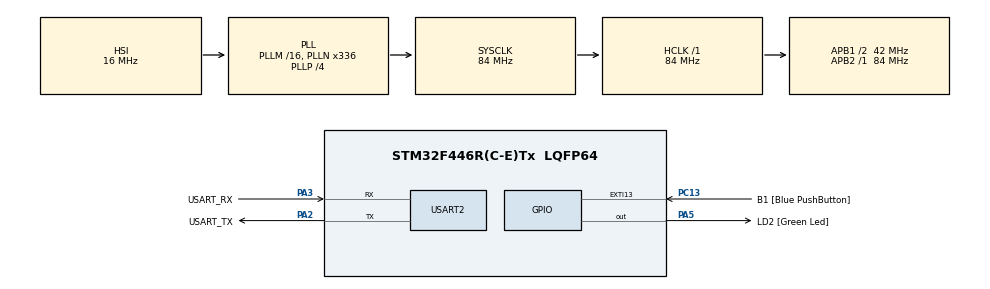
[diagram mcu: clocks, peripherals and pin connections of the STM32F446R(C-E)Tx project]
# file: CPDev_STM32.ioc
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Dma.Request0=USART2_RX
Dma.USART2_RX.0.Direction=DMA_PERIPH_TO_MEMORY
Dma.USART2_RX.0.FIFOMode=DMA_FIFOMODE_DISABLE
Dma.USART2_RX.0.Instance=DMA1_Stream5
Dma.USART2_RX.0.MemDataAlignment=DMA_MDATAALIGN_BYTE
Dma.USART2_RX.0.MemInc=DMA_MINC_ENABLE
Dma.USART2_RX.0.Mode=DMA_NORMAL
Dma.USART2_RX.0.PeriphDataAlignment=DMA_PDATAALIGN_BYTE
Dma.USART2_RX.0.PeriphInc=DMA_PINC_DISABLE
Dma.USART2_RX.0.Priority=DMA_PRIORITY_LOW
Mcu.Family=STM32F4
Mcu.Name=STM32F446R(C-E)Tx
Mcu.Package=LQFP64
NVIC.DMA1_Stream5_IRQn=true\:0\:0\:false\:false\:true\:false\:true\:true
NVIC.PriorityGroup=NVIC_PRIORITYGROUP_0
NVIC.USART2_IRQn=true\:0\:0\:false\:false\:true\:true\:true\:true
PA13.GPIO_Label=TMS
PA13.Mode=Serial_Wire
PA13.Signal=SYS_JTMS-SWDIO
PA14.GPIO_Label=TCK
PA14.Mode=Serial_Wire
PA14.Signal=SYS_JTCK-SWCLK
PA2.GPIO_Label=USART_TX
PA2.Mode=Asynchronous
PA2.Signal=USART2_TX
PA3.GPIO_Label=USART_RX
PA3.Mode=Asynchronous
PA3.Signal=USART2_RX
PA5.GPIO_Label=LD2 [Green Led]
PA5.Signal=GPIO_Output
PB3.GPIO_Label=SWO
PB3.Signal=SYS_JTDO-SWO
PC13.GPIO_Label=B1 [Blue PushButton]
PC13.GPIO_ModeDefaultEXTI=GPIO_MODE_IT_FALLING
PC13.Signal=GPXTI13
PC14-OSC32_IN.Mode=LSE-External-Oscillator
PC14-OSC32_IN.Signal=RCC_OSC32_IN
PC15-OSC32_OUT.Mode=LSE-External-Oscillator
PC15-OSC32_OUT.Signal=RCC_OSC32_OUT
PH0-OSC_IN.Mode=HSE-External-Oscillator
PH0-OSC_IN.Signal=RCC_OSC_IN
PH1-OSC_OUT.Mode=HSE-External-Oscillator
PH1-OSC_OUT.Signal=RCC_OSC_OUT
ProjectManager.HeapSize=0x200
ProjectManager.StackSize=0x400
ProjectManager.TargetToolchain=STM32CubeIDE
RCC.48MHZClocksFreq_Value=84000000
RCC.AHBFreq_Value=84000000
RCC.APB1CLKDivider=RCC_HCLK_DIV2
RCC.APB1Freq_Value=42000000
RCC.APB1TimFreq_Value=84000000
RCC.APB2Freq_Value=84000000
RCC.APB2TimFreq_Value=84000000
RCC.CortexFreq_Value=84000000
RCC.FLatency-AdvancedSettings=FLASH_LATENCY_2
RCC.HCLKFreq_Value=84000000
RCC.HSE_VALUE=8000000
RCC.HSI_VALUE=16000000
RCC.PLLN=336
RCC.PLLP=RCC_PLLP_DIV4
RCC.SYSCLKFreq_VALUE=84000000
RCC.SYSCLKSource=RCC_SYSCLKSOURCE_PLLCLK
RCC.USBFreq_Value=168000000
RCC.VCOOutputFreq_Value=336000000
USART2.VirtualMode=VM_ASYNC
board=NUCLEO-F446RE

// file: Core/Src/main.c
/* USER CODE BEGIN Header */
/**
 ******************************************************************************
 * @file           : main.c
 * @brief          : Main program body
 ******************************************************************************
 * @attention
 *
 * Copyright (c) 2022 STMicroelectronics.
 * All rights reserved.
 *
 * This software is licensed under terms that can be found in the LICENSE file
 * in the root directory of this software component.
 * If no LICENSE file comes with this software, it is provided AS-IS.
 *
 ******************************************************************************
 */
/* USER CODE END Header */
#include "main.h"

/* USER CODE BEGIN Includes */
#include "string.h"
#include "../lib/CPDevVM/src/vmc.h"
/* USER CODE END Includes */

/* USER CODE BEGIN PD */
#define RECV_BUFF_SIZE	60
/* USER CODE END PD */

UART_HandleTypeDef huart2;
DMA_HandleTypeDef hdma_usart2_rx;

/* USER CODE BEGIN PV */
uint8_t recvBuffDMA[RECV_BUFF_SIZE];
uint8_t recvBuffCopy[RECV_BUFF_SIZE];
uint16_t recvBuffSize;
uint32_t recvBuffTime;

WM_BOOL out1;

const unsigned char blinkInFlash[] =
{ 0x1C, 0x15, 0x00, 0x00, 0x00, 0x00, 0x01, 0x00, 0x1C, 0x16, 0x00, 0x00, 0x00,
		0x00, 0x22, 0x00, 0x00, 0x00, 0x1C, 0x16, 0x00, 0x00, 0x00, 0x00, 0x24,
		0x00, 0x00, 0x00, 0x1C, 0x1D, 0x12, 0x00, 0x00, 0x00, 0x1C, 0x13, 0x05,
		0x10, 0x00, 0x00, 0x00, 0x00, 0x00, 0x00, 0x00, 0x00, 0x1C, 0x13 };

/* USER CODE END PV */

void SystemClock_Config(void);
static void MX_GPIO_Init(void);
static void MX_DMA_Init(void);
static void MX_USART2_UART_Init(void);
/* USER CODE BEGIN PFP */
void HAL_UARTEx_RxEventCallback(UART_HandleTypeDef *huart, uint16_t Size)
{
	// Check if UART2 trigger the Callback
	if (huart->Instance == USART2)
	{
		//virtual machine stop before code change
		WM_Stop();

		//copy buffer
		recvBuffSize = Size;
		memcpy(recvBuffCopy, recvBuffDMA, recvBuffSize);
		memset(recvBuffCopy + recvBuffSize, 0, RECV_BUFF_SIZE - recvBuffSize);
		recvBuffTime = HAL_GetTick();

		//start to listening again
		HAL_UARTEx_ReceiveToIdle_DMA(&huart2, recvBuffDMA, RECV_BUFF_SIZE);
	}
}
/* USER CODE END 4 */
/* USER CODE END PFP */

int main(void)
{

	/* MCU Configuration--------------------------------------------------------*/

	/* Reset of all peripherals, Initializes the Flash interface and the Systick. */
	HAL_Init();

	/* Configure the system clock */
	SystemClock_Config();

	/* Initialize all configured peripherals */
	MX_GPIO_Init();
	MX_DMA_Init();
	MX_USART2_UART_Init();
	/* USER CODE BEGIN 2 */

	//set time cycle
	task_cycle = 100;

	//start to listening
	HAL_UARTEx_ReceiveToIdle_DMA(&huart2, recvBuffDMA, RECV_BUFF_SIZE);

	//load program from FLASH
	//VMP_LoadProgramAndData(blinkInFlash, 60);
	//init virutal machine
	//WM_Initialize(WM_MODE_FIRST_START | WM_MODE_NORMAL);

	/* USER CODE END 2 */

	/* Infinite loop */
	/* USER CODE BEGIN WHILE */
	while (1)
	{
		//initialize the machine after 1 sec from receiving the last packet of data
		if (recvBuffTime && (HAL_GetTick() - recvBuffTime) > 1000)
		{
			VMP_LoadProgramAndData(recvBuffCopy, recvBuffSize);
			WM_Initialize(WM_MODE_FIRST_START | WM_MODE_NORMAL);
			recvBuffTime = 0;
		}

		//if the machine is running, run a virtual machine cycle
		if (bRunMode)
		{
			WM_GetData(0, 1, &out1);
			HAL_GPIO_WritePin(LD2_GPIO_Port, LD2_Pin, out1);

			WM_RunCycle();
		}

		/* USER CODE END WHILE */

	}
}

void SystemClock_Config(void)
{
	RCC_OscInitTypeDef RCC_OscInitStruct =
	{ 0 };
	RCC_ClkInitTypeDef RCC_ClkInitStruct =
	{ 0 };

	/** Configure the main internal regulator output voltage
	 */
	__HAL_RCC_PWR_CLK_ENABLE();
	__HAL_PWR_VOLTAGESCALING_CONFIG(PWR_REGULATOR_VOLTAGE_SCALE3);

	/** Initializes the RCC Oscillators according to the specified parameters
	 * in the RCC_OscInitTypeDef structure.
	 */
	RCC_OscInitStruct.OscillatorType = RCC_OSCILLATORTYPE_HSI;
	RCC_OscInitStruct.HSIState = RCC_HSI_ON;
	RCC_OscInitStruct.HSICalibrationValue = RCC_HSICALIBRATION_DEFAULT;
	RCC_OscInitStruct.PLL.PLLState = RCC_PLL_ON;
	RCC_OscInitStruct.PLL.PLLSource = RCC_PLLSOURCE_HSI;
	RCC_OscInitStruct.PLL.PLLM = 16;
	RCC_OscInitStruct.PLL.PLLN = 336;
	RCC_OscInitStruct.PLL.PLLP = RCC_PLLP_DIV4;
	RCC_OscInitStruct.PLL.PLLQ = 2;
	RCC_OscInitStruct.PLL.PLLR = 2;
	if (HAL_RCC_OscConfig(&RCC_OscInitStruct) != HAL_OK)
	{
		Error_Handler();
	}

	/** Initializes the CPU, AHB and APB buses clocks
	 */
	RCC_ClkInitStruct.ClockType = RCC_CLOCKTYPE_HCLK | RCC_CLOCKTYPE_SYSCLK
			| RCC_CLOCKTYPE_PCLK1 | RCC_CLOCKTYPE_PCLK2;
	RCC_ClkInitStruct.SYSCLKSource = RCC_SYSCLKSOURCE_PLLCLK;
	RCC_ClkInitStruct.AHBCLKDivider = RCC_SYSCLK_DIV1;
	RCC_ClkInitStruct.APB1CLKDivider = RCC_HCLK_DIV2;
	RCC_ClkInitStruct.APB2CLKDivider = RCC_HCLK_DIV1;

	if (HAL_RCC_ClockConfig(&RCC_ClkInitStruct, FLASH_LATENCY_2) != HAL_OK)
	{
		Error_Handler();
	}
}

static void MX_USART2_UART_Init(void)
{

	huart2.Instance = USART2;
	huart2.Init.BaudRate = 115200;
	huart2.Init.WordLength = UART_WORDLENGTH_8B;
	huart2.Init.StopBits = UART_STOPBITS_1;
	huart2.Init.Parity = UART_PARITY_NONE;
	huart2.Init.Mode = UART_MODE_TX_RX;
	huart2.Init.HwFlowCtl = UART_HWCONTROL_NONE;
	huart2.Init.OverSampling = UART_OVERSAMPLING_16;
	if (HAL_UART_Init(&huart2) != HAL_OK)
	{
		Error_Handler();
	}

}

static void MX_DMA_Init(void)
{

	/* DMA controller clock enable */
	__HAL_RCC_DMA1_CLK_ENABLE();

	/* DMA interrupt init */
	/* DMA1_Stream5_IRQn interrupt configuration */
	HAL_NVIC_SetPriority(DMA1_Stream5_IRQn, 0, 0);
	HAL_NVIC_EnableIRQ(DMA1_Stream5_IRQn);

}

static void MX_GPIO_Init(void)
{
	GPIO_InitTypeDef GPIO_InitStruct =
	{ 0 };

	/* GPIO Ports Clock Enable */
	__HAL_RCC_GPIOC_CLK_ENABLE();
	__HAL_RCC_GPIOH_CLK_ENABLE();
	__HAL_RCC_GPIOA_CLK_ENABLE();
	__HAL_RCC_GPIOB_CLK_ENABLE();

	/*Configure GPIO pin Output Level */
	HAL_GPIO_WritePin(LD2_GPIO_Port, LD2_Pin, GPIO_PIN_RESET);

	/*Configure GPIO pin : B1_Pin */
	GPIO_InitStruct.Pin = B1_Pin;
	GPIO_InitStruct.Mode = GPIO_MODE_IT_FALLING;
	GPIO_InitStruct.Pull = GPIO_NOPULL;
	HAL_GPIO_Init(B1_GPIO_Port, &GPIO_InitStruct);

	/*Configure GPIO pin : LD2_Pin */
	GPIO_InitStruct.Pin = LD2_Pin;
	GPIO_InitStruct.Mode = GPIO_MODE_OUTPUT_PP;
	GPIO_InitStruct.Pull = GPIO_NOPULL;
	GPIO_InitStruct.Speed = GPIO_SPEED_FREQ_LOW;
	HAL_GPIO_Init(LD2_GPIO_Port, &GPIO_InitStruct);

}

void Error_Handler(void)
{
	__disable_irq();
	while (1)
	{
	}
}
